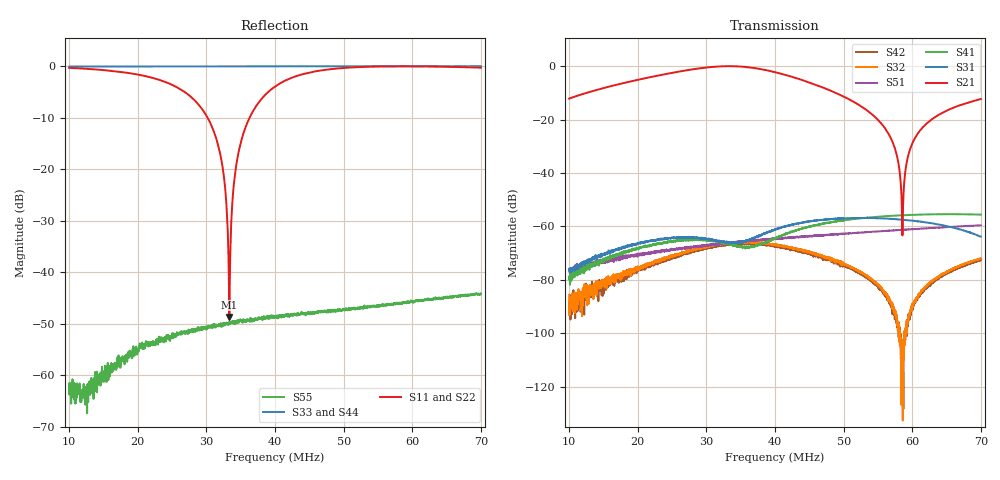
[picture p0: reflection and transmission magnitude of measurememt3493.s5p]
#  HZ  S  RI  R  50.00
! Rohde & Schwarz ZVT8 8Ports - Version 4.11 - 1300.0000k08 SN: 100242
! Date: 2026-07-06 11:33:23
! Measurements: S11 S12 S13 S14 S15 S21 S22 S23 S24 S25 S31 S32 S33 S34 S35 S41 S42 S43 S44 S45 S51 S52 S53 S54 S55
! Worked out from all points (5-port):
!   3001 points, 10 MHz to 70 MHz, reference 50 ohm
!   strongest paths, dB at 10 MHz, 25 MHz, 40 MHz, 55 MHz, 70 MHz:
!     S21: -12.2, -2.5, -2.3, -20.1, -12.3
!     S31: -76.5, -64.4, -61.3, -57.0, -63.9
!     S41: -79.2, -65.8, -64.5, -56.4, -55.6
!     S51: -76.0, -68.5, -64.7, -61.9, -59.6
!     S32: -85.6, -71.0, -66.8, -81.9, -72.1
!     S42: -91.5, -71.7, -67.5, -82.3, -72.6
!   lowest |S11| = -48.7 dB at 33.34 MHz (marker M1), VSWR 1.01, Z = 50.4 - j0.0985 ohm
!   |S11| at or under -10 dB: 30.16 MHz to 36.31 MHz (6.142 MHz wide, 18.5 % of centre)
